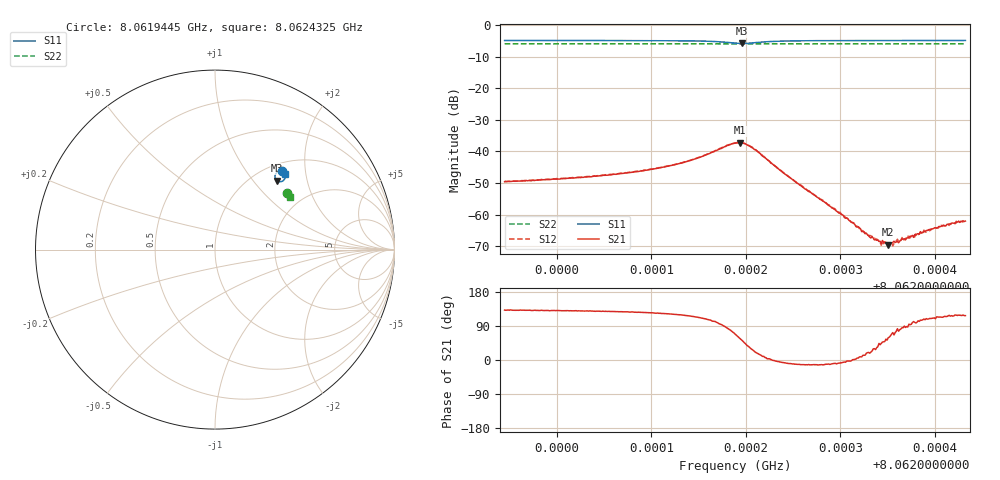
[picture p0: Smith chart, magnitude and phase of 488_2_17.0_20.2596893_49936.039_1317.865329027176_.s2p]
#  HZ  S  RI  R  50.00
! Rohde & Schwarz Vector Network Analyzer
! Rohde-Schwarz,ZNB20-2Port,1311601062101988,3.16
! Created: UTC 3/20/2024, 11:13:58 PM
! freq[Hz]  re:S11  im:S11  re:S21  im:S21  re:S12  im:S12  re:S22  im:S22
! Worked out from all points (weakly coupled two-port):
!   401 points, 8.0619445 GHz to 8.0624325 GHz, reference 50 ohm
!   highest |S21| = -37.18 dB at 8.0621934 GHz (marker M1); lowest = -69.5 dB at 8.0623508 GHz (marker M2)
!   lowest |S11| = -5.7 dB at 8.0621958 GHz (marker M3), VSWR 3.13, Z = 63.5 + j66.6 ohm
!   |S11| at or under -10 dB: nowhere
!   |S22| runs from -5.9 to -5.8 dB; largest |S21 - S12| = 0.001
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8.06194451e9  0.3734 0.4387  -0.0022 0.00247  -0.00209 0.00261  0.4018 0.3146
8.06202624e9  0.3796 0.4326  -0.00247 0.00303  -0.00229 0.00318  0.4049 0.3105
8.0620787e9  0.3843 0.4272  -0.00279 0.00375  -0.00258 0.00397  0.4068 0.3075
8.06210798e9  0.3875 0.4223  -0.003 0.00459  -0.00277 0.0048  0.4079 0.3061
8.06214458e9  0.3912 0.4108  -0.00313 0.00681  -0.00275 0.00701  0.4091 0.3037
8.0621885e9  0.3607 0.3782  0.00491 0.0126  0.00578 0.0124  0.4087 0.3006
8.06219338e9  0.3495 0.3813  0.00742 0.0117  0.00808 0.0112  0.4085 0.3006
8.06219582e9  0.3444 0.3847  0.00837 0.0107  0.00925 0.0102  0.4083 0.3007
8.06220924e9  0.3346 0.4125  0.00992 0.00405  0.0104 0.00361  0.4088 0.3016
8.06224217e9  0.3594 0.4353  0.00426 -0.000604  0.00428 -0.000865  0.4114 0.3006
8.06227023e9  0.3707 0.4347  0.00208 -0.000468  0.00211 -0.000583  0.4127 0.2991
8.06230073e9  0.3774 0.4322  0.00101 -0.000134  0.00102 -0.000203  0.414 0.2975
8.06233001e9  0.3815 0.4301  0.000433 0.000157  0.000453 0.000101  0.4151 0.2958
8.06234343e9  0.3832 0.429  0.000248 0.00024  0.000239 0.000219  0.4158 0.2952
8.06235075e9  0.384 0.4285  0.000172 0.000285  0.000182 0.000296  0.416 0.2949
8.06235197e9  0.3841 0.4284  0.000171 0.0003  0.000159 0.000272  0.416 0.2947
8.06235441e9  0.3845 0.4282  0.000129 0.000328  0.00018 0.00031  0.416 0.2947
8.06236295e9  0.3852 0.4276  6.69e-05 0.000373  0.000101 0.000361  0.4164 0.2942
8.06237637e9  0.3865 0.4268  -7e-05 0.000461  -1.86e-05 0.000443  0.4169 0.2935
8.06240687e9  0.3891 0.4248  -0.000256 0.000598  -0.000216 0.000639  0.4179 0.2918
8.06242517e9  0.3905 0.4236  -0.000369 0.00068  -0.000325 0.000721  0.4187 0.2909
8.06243249e9  0.391 0.4233  -0.000358 0.000702  -0.000359 0.000708  0.4187 0.2905
